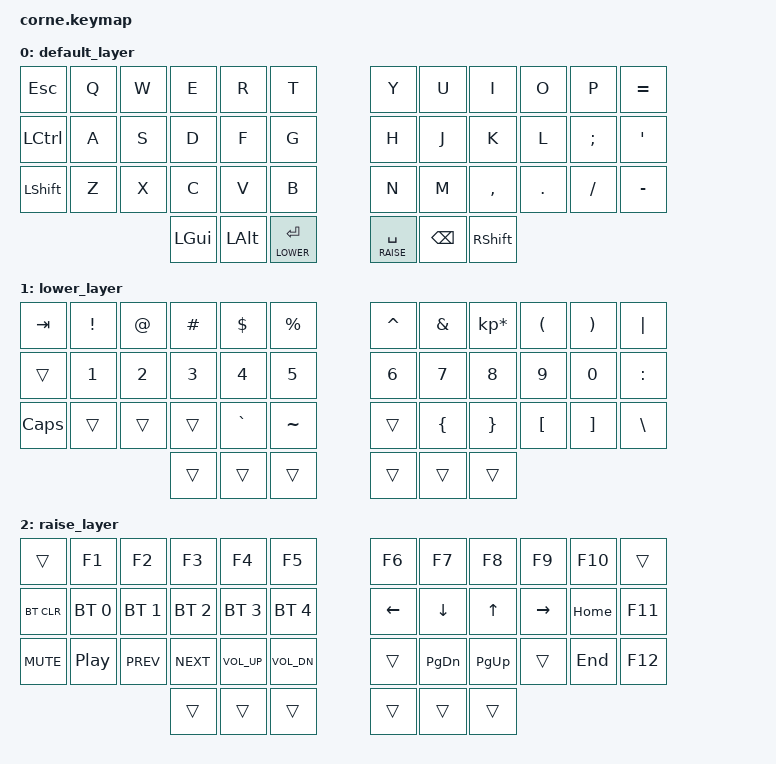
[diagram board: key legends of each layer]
/*
 * Copyright (c) 2020 The ZMK Contributors
 *
 * SPDX-License-Identifier: MIT
 */

#include <behaviors.dtsi>
#include <dt-bindings/zmk/keys.h>
#include <dt-bindings/zmk/bt.h>

#define DEFAULT 0
#define LOWER   1
#define RAISE   2

/ {
   keymap {
      compatible = "zmk,keymap";

      default_layer {
         bindings = <
            &kp ESC   &kp Q &kp W &kp E &kp R &kp T      &kp Y &kp U &kp I     &kp O   &kp P    &kp EQUAL
            &kp LCTRL &kp A &kp S &kp D &kp F &kp G      &kp H &kp J &kp K     &kp L   &kp SEMI &kp SQT
            &kp LSHFT &kp Z &kp X &kp C &kp V &kp B      &kp N &kp M &kp COMMA &kp DOT &kp FSLH &kp MINUS
                   &kp LGUI &kp LALT  &lt LOWER RET      &lt RAISE SPACE &kp BSPC &kp RSHFT
         >;
      };

      lower_layer {
         bindings = <
            &kp TAB  &kp EXCL &kp AT &kp HASH &kp DLLR  &kp PRCNT      &kp CARET &kp AMPS &kp KP_MULTIPLY &kp LPAR &kp RPAR &kp PIPE
            &trans   &kp N1   &kp N2 &kp N3   &kp N4    &kp N5         &kp N6    &kp N7   &kp N8          &kp N9   &kp N0   &kp COLON
            &kp CAPS &trans   &trans &trans   &kp GRAVE &kp TILDE      &trans    &kp LBRC &kp RBRC        &kp LBKT &kp RBKT &kp BSLH
                                     &trans   &trans   &trans          &trans    &trans   &trans
         >;
      };

      raise_layer {
         bindings = <
            &trans      &kp F1       &kp F2       &kp F3       &kp F4       &kp F5           &kp F6   &kp F7    &kp F8    &kp F9    &kp F10  &trans
            &bt BT_CLR  &bt BT_SEL 0 &bt BT_SEL 1 &bt BT_SEL 2 &bt BT_SEL 3 &bt BT_SEL 4     &kp LEFT &kp DOWN  &kp UP    &kp RIGHT &kp HOME &kp F11
            &kp C_MUTE  &kp C_PP     &kp C_PREV   &kp C_NEXT   &kp C_VOL_UP &kp C_VOL_DN     &trans   &kp PG_DN &kp PG_UP &trans    &kp END  &kp F12
                                                  &trans       &trans       &trans           &trans   &trans    &trans
         >;
      };
   };
};
